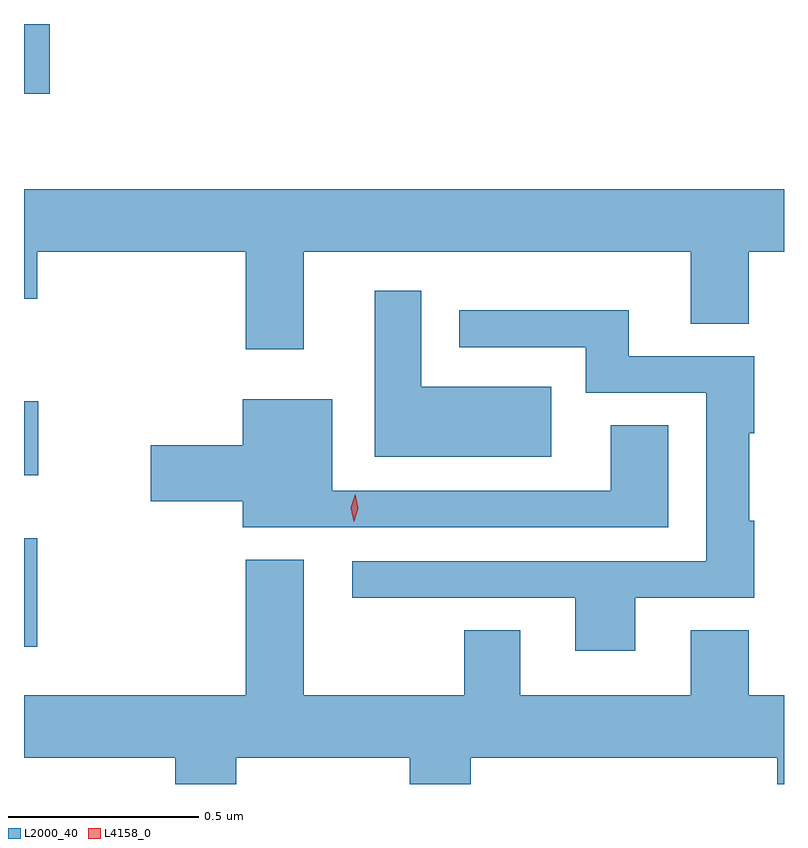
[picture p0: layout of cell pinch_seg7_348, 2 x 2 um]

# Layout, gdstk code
import gdstk
lib = gdstk.Library(unit=1e-6, precision=1e-09)
def R(c, l, rs):  # rectangles x0, y0, x1, y1
    for r in rs: c.add(gdstk.rectangle(r[:2], r[2:], *l))
def P(c, l, *ps):  # polygons
    for p in ps: c.add(gdstk.Polygon(p, *l))
L2000_40 = (2000, 40)
L4158_0 = (4158, 0)

pinch_seg7_348 = lib.new_cell('pinch_seg7_348')
R(pinch_seg7_348, L2000_40, [(460.041,1058.184,460.076,1058.47), (460.041,1058.636,460.078,1058.83), (460.041,1059.639,460.109,1059.823)])
P(pinch_seg7_348, L2000_40, [(460.777,1059.224),(461.795,1059.224),(461.795,1059.034),(461.948,1059.034),(461.948,1059.224),(462.041,1059.224),(462.041,1059.388),(460.041,1059.388),(460.041,1059.1),(460.076,1059.1),(460.076,1059.224),(460.625,1059.224),(460.625,1058.967),(460.777,1058.967)],
  [(461.428,1058.869),(461.086,1058.869),(461.086,1059.121),(460.964,1059.121),(460.964,1058.684),(461.428,1058.684)],
  [(461.65,1058.313),(461.963,1058.313),(461.963,1058.516),(461.95,1058.516),(461.95,1058.746),(461.963,1058.746),(461.963,1058.949),(461.632,1058.949),(461.632,1059.07),(461.187,1059.07),(461.187,1058.973),(461.519,1058.973),(461.519,1058.853),(461.837,1058.853),(461.837,1058.409),(460.905,1058.409),(460.905,1058.313),(461.492,1058.313),(461.492,1058.174),(461.65,1058.174)],
  [(461.737,1058.767),(461.585,1058.767),(461.585,1058.595),(460.852,1058.595),(460.852,1058.836),(460.616,1058.836),(460.616,1058.714),(460.374,1058.714),(460.374,1058.567),(460.616,1058.567),(460.616,1058.499),(461.737,1058.499)],
  [(460.599,1057.892),(461.056,1057.892),(461.056,1057.823),(461.216,1057.823),(461.216,1057.892),(462.023,1057.892),(462.023,1057.823),(462.041,1057.823),(462.041,1058.056),(461.948,1058.056),(461.948,1058.228),(461.795,1058.228),(461.795,1058.056),(461.347,1058.056),(461.347,1058.228),(461.2,1058.228),(461.2,1058.056),(460.777,1058.056),(460.777,1058.413),(460.625,1058.413),(460.625,1058.056),(460.041,1058.056),(460.041,1057.892),(460.439,1057.892),(460.439,1057.823),(460.599,1057.823)])
P(pinch_seg7_348, L4158_0, [(460.909,1058.513),(460.909,1058.514),(460.901,1058.55),(460.913,1058.585),(460.913,1058.586),(460.913,1058.585),(460.921,1058.549),(460.91,1058.514)])

lib.write_gds('pinch_seg7_348.gds')
